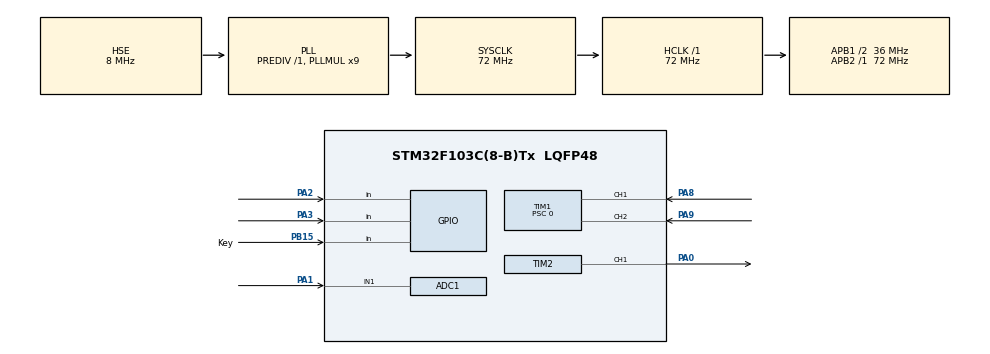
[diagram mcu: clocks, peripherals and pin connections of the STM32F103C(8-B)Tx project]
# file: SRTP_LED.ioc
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ADC1.Channel-0\#ChannelRegularConversion=ADC_CHANNEL_1
ADC1.ContinuousConvMode=ENABLE
ADC1.NbrOfConversion=1
ADC1.NbrOfConversionFlag=1
ADC1.Rank-0\#ChannelRegularConversion=1
ADC1.SamplingTime-0\#ChannelRegularConversion=ADC_SAMPLETIME_1CYCLE_5
ADC1.master=1
Mcu.Family=STM32F1
Mcu.Name=STM32F103C(8-B)Tx
Mcu.Package=LQFP48
NVIC.PriorityGroup=NVIC_PRIORITYGROUP_4
PA0-WKUP.Signal=S_TIM2_CH1_ETR
PA1.Signal=ADCx_IN1
PA13.Mode=Serial_Wire
PA13.Signal=SYS_JTMS-SWDIO
PA14.Mode=Serial_Wire
PA14.Signal=SYS_JTCK-SWCLK
PA2.Signal=GPIO_Input
PA3.Signal=GPIO_Input
PA8.Signal=S_TIM1_CH1
PA9.Signal=S_TIM1_CH2
PB15.GPIO_Label=Key
PB15.GPIO_PuPd=GPIO_PULLUP
PB15.Signal=GPIO_Input
PD0-OSC_IN.Mode=HSE-External-Oscillator
PD0-OSC_IN.Signal=RCC_OSC_IN
PD1-OSC_OUT.Mode=HSE-External-Oscillator
PD1-OSC_OUT.Signal=RCC_OSC_OUT
ProjectManager.HeapSize=0x200
ProjectManager.StackSize=0x400
ProjectManager.TargetToolchain=STM32CubeIDE
RCC.ADCPresc=RCC_ADCPCLK2_DIV6
RCC.AHBFreq_Value=72000000
RCC.APB1CLKDivider=RCC_HCLK_DIV2
RCC.APB1Freq_Value=36000000
RCC.APB1TimFreq_Value=72000000
RCC.APB2Freq_Value=72000000
RCC.APB2TimFreq_Value=72000000
RCC.HCLKFreq_Value=72000000
RCC.PLLMUL=RCC_PLL_MUL9
RCC.PLLSourceVirtual=RCC_PLLSOURCE_HSE
RCC.SYSCLKFreq_VALUE=72000000
RCC.SYSCLKSource=RCC_SYSCLKSOURCE_PLLCLK
RCC.USBFreq_Value=72000000
SH.ADCx_IN1.0=ADC1_IN1,IN1
SH.S_TIM1_CH1.0=TIM1_CH1,Encoder_Interface
SH.S_TIM1_CH2.0=TIM1_CH2,Encoder_Interface
SH.S_TIM2_CH1_ETR.0=TIM2_CH1,PWM Generation1 CH1
TIM1.IC1Filter=15
TIM1.IC1Polarity=TIM_ICPOLARITY_FALLING
TIM1.Period=99
TIM1.Prescaler=0
TIM2.Channel-PWM\ Generation1\ CH1=TIM_CHANNEL_1
TIM2.Period=100-1
TIM2.Prescaler=72-1
VP_TIM2_VS_ClockSourceINT.Mode=Internal
board=custom

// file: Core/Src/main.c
/* USER CODE BEGIN Header */
/**
  ******************************************************************************
  * @file           : main.c
  * @brief          : Main program body
  ******************************************************************************
  * @attention
  *
  * Copyright (c) 2026 STMicroelectronics.
  * All rights reserved.
  *
  * This software is licensed under terms that can be found in the LICENSE file
  * in the root directory of this software component.
  * If no LICENSE file comes with this software, it is provided AS-IS.
  *
  ******************************************************************************
  */
/* USER CODE END Header */
#include "main.h"
#include "adc.h"
#include "tim.h"
#include "gpio.h"

/* USER CODE BEGIN Includes */
#include "ldr.h"
#include "ky040.h"
#include "mosfet.h"
#include "pir.h"
#include "sound.h"
/* USER CODE END Includes */

/* USER CODE BEGIN PV */

/* ---- LDR 自动调光相关变量 ---- */
static uint16_t last_adc = 0U;  /* 上一次 LDR 读取的 ADC 值，用于滞回比较 */
static uint16_t last_pwm = 0U;  /* 上一次计算出的 PWM 占空比输出值 */

/*
 * 编码器计数值快照，用于检测"自动模式下编码器是否被拧动"。
 * 自动模式下若 count 与快照不一致，说明用户拧了旋钮 → 切到手动模式。
 * 关灯模式和手动模式下每轮同步快照，确保切换到自动时不会误触发。
 */
static int last_count_snapshot = 0;

/* ---- PIR + 声音 复合自动控制相关变量 ---- */
/*
 * 自动关灯超时时间（单位：毫秒）。
 * 灯亮状态下，若连续超过此时间既没有检测到人体（PIR）也没有检测到声音，
 * 则判定"人已离开且环境安静"，自动关灯。
 * 当前设定为 5 秒，可根据实际使用场景调整。
 */
#define AUTO_OFF_TIMEOUT_MS  5000U

/*
 * 最近一次活动时间戳（单位：milliseconds，基于 HAL_GetTick()）。
 * "活动"定义为：PIR 检测到人体 或 KY-037 检测到声音。
 * 每次检测到活动时，将此变量更新为当前系统 tick。
 * 灯亮时，若 (当前tick - last_activity_tick) > AUTO_OFF_TIMEOUT_MS，则关灯。
 */
static uint32_t last_activity_tick = 0U;

/*
 * 自动模式下的灯开关状态（仅 MODE_AUTO 下有效）。
 * 0 = 自动模式灯灭，1 = 自动模式灯亮。
 * 与全局 mode 变量不同：mode 表示用户选择的工作模式（0/1/2），
 * auto_light_on 只追踪自动模式内部灯光是否因传感器触发而亮起。
 */
static uint8_t auto_light_on = 0U;

/*
 * 上一轮的工作模式，用于检测模式切换事件。
 * 当检测到从其他模式进入 MODE_AUTO 时，强制重置自动模式内部状态，
 * 避免因 auto_light_on / last_activity_tick 残留值导致的异常行为。
 */
static int last_mode = MODE_OFF;

/* USER CODE END PV */

void SystemClock_Config(void);

int main(void)
{

  /* MCU Configuration--------------------------------------------------------*/

  /* Reset of all peripherals, Initializes the Flash interface and the Systick. */
  HAL_Init();

  /* Configure the system clock */
  SystemClock_Config();

  /* Initialize all configured peripherals */
  MX_GPIO_Init();
  MX_TIM1_Init();
  MX_TIM2_Init();
  MX_ADC1_Init();
  /* USER CODE BEGIN 2 */
  KY040_Init();       /* 初始化 KY-040 旋转编码器（启动 TIM1 编码器接口） */
  MOSFET_Init();       /* 初始化 MOSFET PWM 输出（启动 TIM2 CH1） */

  /* USER CODE END 2 */

  /* Infinite loop */
  while (1)
  {

    /* USER CODE BEGIN 3 */
    /* ================================================================
     * 每轮循环：更新编码器 → 检测按键 → 按模式分发控制
     * ================================================================
     * KY040_Update() 始终运行，确保 count 实时反映编码器位置。
     * KY040_Key() 检测按键并循环切换 mode（OFF→MANUAL→AUTO）。
     * 然后根据当前 mode 执行对应的控制逻辑。
     * ================================================================ */
    KY040_Update();
    KY040_Key();

    /*
     * 模式切换检测：
     * 当用户通过按键从其他模式进入 MODE_AUTO 时，强制重置自动模式内部状态
     * （auto_light_on=0, last_activity_tick=0），确保每次进入自动模式都
     * 从"灯灭子状态"开始，立即根据传感器状态重新判断是否开灯。
     * 这解决了从"模式2→拧编码器→模式1→按键→模式2"路径下，
     * auto_light_on 残留为 1、last_activity_tick 过期导致立即关灯的 bug。
     */
    if (mode != last_mode && mode == MODE_AUTO)
    {
        auto_light_on     = 0U;
        last_activity_tick = 0U;
    }
    last_mode = mode;   /* 记录本轮模式，供下轮检测切换 */

    switch (mode)
    {
    /* =================================================================
     * 模式 0 — OFF（关灯）
     * =================================================================
     * 强制关灯，PWM 输出为 0。
     * 编码器和所有传感器均被忽略。
     * 同步编码器快照，为后续切换到自动模式做准备。
     * ================================================================= */
    case MODE_OFF:
        MOSFET_Update(0);
        last_count_snapshot = count;   /* 同步快照，防止切自动时误触发 */
        break;

    /* =================================================================
     * 模式 1 — MANUAL（手动调光）
     * =================================================================
     * 灯光亮度完全由编码器旋钮位置决定，PWM = count。
     * PIR、声音、LDR 传感器全部不参与控制。
     * 此模式下拧旋钮实时改变亮度，无超时限制。
     * 同步编码器快照，为后续切换到自动模式做准备。
     * ================================================================= */
    case MODE_MANUAL:
        MOSFET_Update(count);
        last_count_snapshot = count;   /* 同步快照，防止切自动时误触发 */
        break;

    /* =================================================================
     * 模式 2 — AUTO（全自动控制）
     * =================================================================
     * 控制策略：
     *   [A] 编码器检测：若旋钮被拧动 → 立即切到手动模式（用户接管）
     *   [B] 传感器读取：PIR（人体红外） + KY-037（声音）
     *   [C] 活动计时：PIR 或声音任一触发 → 刷新 last_activity_tick
     *   [D] 灯灭子状态：仅 PIR 可开灯，声音不能（防门外噪音误触发）
     *       开灯时立即用 LDR 环境光传感器计算合适的 PWM 亮度
     *   [E] 灯亮子状态：PIR 或声音均可续命；连续 5 秒无活动则关灯
     *       期间持续 LDR 自动调光（带滞回，防闪烁）
     * ================================================================= */
    case MODE_AUTO:
    default:
        /*
         * [A] 编码器拧动检测：
         * 比较当前 count 与上一轮快照，若不一致说明用户拧了旋钮。
         * 立即切到模式 1（手动），用当前编码器值直接设置亮度。
         */
        if (last_count_snapshot != count)
        {
            last_count_snapshot = count;
            mode = MODE_MANUAL;         /* 用户接管 → 切手动 */
            MOSFET_Update(count);
            break;                      /* 跳出 switch，本轮不执行自动逻辑 */
        }

        /*
         * [B] 读取两个传感器的当前状态。
         */
        uint8_t pir_detected = PIR_IsDetected();   /* 人体红外：有人=1，无人=0 */
        uint8_t snd_detected = Sound_IsDetected();  /* 声音检测：有声=1，安静=0 */

        /*
         * [C] 活动计时器刷新：
         * PIR 或声音任意一个检测到活动，都将 last_activity_tick 更新为当前时刻。
         * 相当于"有人活动就重置无人倒计时"。
         */
        if (pir_detected == PIR_DETECTED || snd_detected == SOUND_DETECTED)
        {
            last_activity_tick = HAL_GetTick();
        }

        /* ---- 自动模式内部状态机 ---- */
        if (auto_light_on == 0U)
        {
            /* ========================================================
             * [D] 灯灭子状态 —— 仅允许 PIR 开灯
             * ========================================================
             * 设计意图：防止门外噪音、隔壁房间声音等误触发开灯。
             * 只有人体红外确认"有人进入"时才允许开灯。
             * 开灯后立即根据 LDR 环境光传感器计算合适的 PWM 亮度。
             * ======================================================== */
            if (pir_detected == PIR_DETECTED)
            {
                /* PIR 检测到有人进入 → 自动开灯 */
                auto_light_on = 1U;
                /* 记录活动时间戳，启动关灯倒计时 */
                last_activity_tick = HAL_GetTick();

                /*
                 * 立即读取 LDR 环境光并计算 PWM 输出。
                 * 不等待下一轮循环，确保开灯响应迅速、无延迟。
                 */
                uint16_t adc_value = LDR_ReadAverage();
                last_adc = adc_value;
                last_pwm = LDR_ToPWM(adc_value);
                MOSFET_Update((int)last_pwm);
            }
            else
            {
                /*
                 * 无人（可能有声也可能无声）→ 保持关灯。
                 * 声音传感器在此状态下被忽略：门外噪音不会误开灯。
                 */
                MOSFET_Update(0);
            }
        }
        else
        {
            /* ========================================================
             * [E] 灯亮子状态 —— PIR 或声音可续命，超时自动关灯
             * ========================================================
             * 设计意图：人在房间内可能静止不动（如坐着看书），
             * 此时 PIR 可能无法检测到。但人会有自然声音（翻书、咳嗽、
             * 打字等），声音传感器捕捉这些信号来维持灯光。
             * 只有连续 AUTO_OFF_TIMEOUT_MS（5 秒）既无 PIR 也无声音，
             * 才判定"人已离开"并关灯。
             * ======================================================== */

            /*
             * 超时关灯判定：
             * 若距离上一次活动已经超过 AUTO_OFF_TIMEOUT_MS（5 秒），
             * 说明房间内连续指定时间没有任何人体活动迹象 → 关灯。
             */
            if ((last_activity_tick != 0U) &&
                ((HAL_GetTick() - last_activity_tick) > AUTO_OFF_TIMEOUT_MS))
            {
                /* 超时：关灯，清零自动模式内部状态 */
                MOSFET_Update(0);
                auto_light_on = 0U;
                last_activity_tick = 0U;
            }
            else
            {
                /*
                 * 未超时：人在房间里（或刚离开不到 5 秒）。
                 * 继续执行 LDR 环境光自动调光。
                 */

                /* 读取当前环境光 ADC 值（10 次采样取平均） */
                uint16_t adc_value = LDR_ReadAverage();

                /*
                 * 滞回比较（Hysteresis）：
                 * 仅当 ADC 变化量超过 LDR_HYSTERESIS_THRESHOLD(50) 时才更新 PWM。
                 * 避免 ADC 采样噪声导致的灯光微小闪烁，使亮度调节更平滑稳定。
                 */
                uint16_t delta = (adc_value > last_adc)
                                 ? (adc_value - last_adc)
                                 : (last_adc - adc_value);

                if (delta > LDR_HYSTERESIS_THRESHOLD)
                {
                    /* 环境光变化显著 → 更新 PWM 输出 */
                    last_adc = adc_value;
                    last_pwm = LDR_ToPWM(adc_value);
                    MOSFET_Update((int)last_pwm);
                }
                else
                {
                    /* 环境光变化不大 → 维持上一次的 PWM 输出，避免闪烁 */
                    MOSFET_Update((int)last_pwm);
                }
            }
        }
        break;
    }

    /*
     * 主循环延时 50 毫秒（20Hz 轮询频率）。
     *   - 对人体检测（PIR 响应约 100~300ms）足够快
     *   - 能可靠捕获持续时间 ≥100ms 的声音事件（拍手、说话）
     *   - PWM 更新频率 20Hz，远超人眼闪烁感知阈值
     */
    HAL_Delay(50);
  /* USER CODE END 3 */
  }
}

void SystemClock_Config(void)
{
  RCC_OscInitTypeDef RCC_OscInitStruct = {0};
  RCC_ClkInitTypeDef RCC_ClkInitStruct = {0};
  RCC_PeriphCLKInitTypeDef PeriphClkInit = {0};

  /** Initializes the RCC Oscillators according to the specified parameters
  * in the RCC_OscInitTypeDef structure.
  */
  RCC_OscInitStruct.OscillatorType = RCC_OSCILLATORTYPE_HSE;
  RCC_OscInitStruct.HSEState = RCC_HSE_ON;
  RCC_OscInitStruct.HSEPredivValue = RCC_HSE_PREDIV_DIV1;
  RCC_OscInitStruct.HSIState = RCC_HSI_ON;
  RCC_OscInitStruct.PLL.PLLState = RCC_PLL_ON;
  RCC_OscInitStruct.PLL.PLLSource = RCC_PLLSOURCE_HSE;
  RCC_OscInitStruct.PLL.PLLMUL = RCC_PLL_MUL9;
  if (HAL_RCC_OscConfig(&RCC_OscInitStruct) != HAL_OK)
  {
    Error_Handler();
  }

  /** Initializes the CPU, AHB and APB buses clocks
  */
  RCC_ClkInitStruct.ClockType = RCC_CLOCKTYPE_HCLK|RCC_CLOCKTYPE_SYSCLK
                              |RCC_CLOCKTYPE_PCLK1|RCC_CLOCKTYPE_PCLK2;
  RCC_ClkInitStruct.SYSCLKSource = RCC_SYSCLKSOURCE_PLLCLK;
  RCC_ClkInitStruct.AHBCLKDivider = RCC_SYSCLK_DIV1;
  RCC_ClkInitStruct.APB1CLKDivider = RCC_HCLK_DIV2;
  RCC_ClkInitStruct.APB2CLKDivider = RCC_HCLK_DIV1;

  if (HAL_RCC_ClockConfig(&RCC_ClkInitStruct, FLASH_LATENCY_2) != HAL_OK)
  {
    Error_Handler();
  }
  PeriphClkInit.PeriphClockSelection = RCC_PERIPHCLK_ADC;
  PeriphClkInit.AdcClockSelection = RCC_ADCPCLK2_DIV6;
  if (HAL_RCCEx_PeriphCLKConfig(&PeriphClkInit) != HAL_OK)
  {
    Error_Handler();
  }
}

void Error_Handler(void)
{
  __disable_irq();
  while (1)
  {
  }
}
